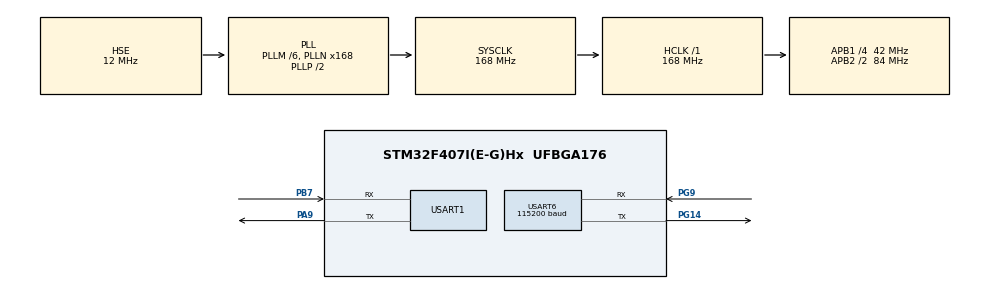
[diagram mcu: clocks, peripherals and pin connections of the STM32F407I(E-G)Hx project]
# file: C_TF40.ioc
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Dma.Request0=USART6_RX
Dma.Request1=USART6_TX
Dma.USART6_RX.0.Direction=DMA_PERIPH_TO_MEMORY
Dma.USART6_RX.0.FIFOMode=DMA_FIFOMODE_DISABLE
Dma.USART6_RX.0.Instance=DMA2_Stream1
Dma.USART6_RX.0.MemDataAlignment=DMA_MDATAALIGN_BYTE
Dma.USART6_RX.0.MemInc=DMA_MINC_ENABLE
Dma.USART6_RX.0.Mode=DMA_NORMAL
Dma.USART6_RX.0.PeriphDataAlignment=DMA_PDATAALIGN_BYTE
Dma.USART6_RX.0.PeriphInc=DMA_PINC_DISABLE
Dma.USART6_RX.0.Priority=DMA_PRIORITY_LOW
Dma.USART6_TX.1.Direction=DMA_MEMORY_TO_PERIPH
Dma.USART6_TX.1.FIFOMode=DMA_FIFOMODE_DISABLE
Dma.USART6_TX.1.Instance=DMA2_Stream6
Dma.USART6_TX.1.MemDataAlignment=DMA_MDATAALIGN_BYTE
Dma.USART6_TX.1.MemInc=DMA_MINC_ENABLE
Dma.USART6_TX.1.Mode=DMA_NORMAL
Dma.USART6_TX.1.PeriphDataAlignment=DMA_PDATAALIGN_BYTE
Dma.USART6_TX.1.PeriphInc=DMA_PINC_DISABLE
Dma.USART6_TX.1.Priority=DMA_PRIORITY_LOW
Mcu.Family=STM32F4
Mcu.Name=STM32F407I(E-G)Hx
Mcu.Package=UFBGA176
NVIC.DMA2_Stream1_IRQn=true\:0\:0\:false\:false\:true\:false\:true
NVIC.DMA2_Stream6_IRQn=true\:0\:0\:false\:false\:true\:false\:true
NVIC.PriorityGroup=NVIC_PRIORITYGROUP_4
NVIC.USART6_IRQn=true\:0\:0\:false\:false\:true\:true\:true
PA13.Mode=Serial_Wire
PA13.Signal=SYS_JTMS-SWDIO
PA14.Mode=Serial_Wire
PA14.Signal=SYS_JTCK-SWCLK
PA9.Mode=Asynchronous
PA9.Signal=USART1_TX
PB7.Mode=Asynchronous
PB7.Signal=USART1_RX
PG14.Mode=Asynchronous
PG14.Signal=USART6_TX
PG9.Mode=Asynchronous
PG9.Signal=USART6_RX
PH0-OSC_IN.Mode=HSE-External-Oscillator
PH0-OSC_IN.Signal=RCC_OSC_IN
PH1-OSC_OUT.Mode=HSE-External-Oscillator
PH1-OSC_OUT.Signal=RCC_OSC_OUT
ProjectManager.HeapSize=0x200
ProjectManager.StackSize=0x400
ProjectManager.TargetToolchain=MDK-ARM V5.32
RCC.48MHZClocksFreq_Value=84000000
RCC.AHBFreq_Value=168000000
RCC.APB1CLKDivider=RCC_HCLK_DIV4
RCC.APB1Freq_Value=42000000
RCC.APB1TimFreq_Value=84000000
RCC.APB2CLKDivider=RCC_HCLK_DIV2
RCC.APB2Freq_Value=84000000
RCC.APB2TimFreq_Value=168000000
RCC.CortexFreq_Value=168000000
RCC.HCLKFreq_Value=168000000
RCC.HSE_VALUE=12000000
RCC.HSI_VALUE=16000000
RCC.LSE_VALUE=32768
RCC.PLLM=6
RCC.PLLN=168
RCC.PLLSourceVirtual=RCC_PLLSOURCE_HSE
RCC.SYSCLKFreq_VALUE=168000000
RCC.SYSCLKSource=RCC_SYSCLKSOURCE_PLLCLK
RCC.VCOOutputFreq_Value=336000000
USART1.VirtualMode=VM_ASYNC
USART6.BaudRate=115200
USART6.VirtualMode=VM_ASYNC
board=custom

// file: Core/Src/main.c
/* USER CODE BEGIN Header */
/**
  ******************************************************************************
  * @file           : main.c
  * @brief          : Main program body
  ******************************************************************************
  * @attention
  *
  * <h2><center>&copy; Copyright (c) 2022 STMicroelectronics.
  * All rights reserved.</center></h2>
  *
  * This software component is licensed by ST under BSD 3-Clause license,
  * the "License"; You may not use this file except in compliance with the
  * License. You may obtain a copy of the License at:
  *                        opensource.org/licenses/BSD-3-Clause
  *
  ******************************************************************************
  */
/* USER CODE END Header */
#include "main.h"
#include "dma.h"
#include "usart.h"
#include "gpio.h"

/* USER CODE BEGIN Includes */
#include "stdio.h"
#include "crc.h"
/* USER CODE END Includes */

/* USER CODE BEGIN PTD */
#define LENGTH 100
#define BW_TFLidar_DATA_Len             9
#define BW_TFLidar_DATA_ADDRESS            0x01
#define BW_TFLidar_DATA_FUNCTION           0x03
#define BW_TFLidar_DATA_BUTES           0x04
/* USER CODE END PTD */

/* USER CODE BEGIN PV */
uint8_t RxBuffer[LENGTH];
uint8_t RecCount = 0;
uint8_t RxFlag = 0;
uint8_t start_read_distance[] = {
    0x01, 0x03, 0x00, 0x0F, 0x00, 0x02, 0xF4, 0x08};
uint8_t turn_on_laser[] = {
    0x01, 0x10, 0x00, 0x03, 0x00, 0x01, 0x02, 0x00, 0x01, 0x67, 0xA3};
uint8_t close_off_laser[] = {
    0x01, 0x10, 0x00, 0x03, 0x00, 0x01, 0x02, 0x00, 0x00, 0xA6, 0x63};
uint8_t serial_port[] = {
    0x01, 0x10, 0x00, 0x00, 0x00, 0x02, 0x04, 0x00, 0x01, 0xC2, 0x00, 0xF3, 0x0F};
uint8_t continue_meature_mode[] = {
    0x01, 0x03, 0x00, 0x01, 0x00, 0x02, 0x95, 0xCB};
/* USER CODE END PV */

void SystemClock_Config(void);

int main(void)
{

  /* MCU Configuration--------------------------------------------------------*/

  /* Reset of all peripherals, Initializes the Flash interface and the Systick. */
  HAL_Init();

  /* Configure the system clock */
  SystemClock_Config();

  /* Initialize all configured peripherals */
  MX_GPIO_Init();
  MX_DMA_Init();
  MX_USART1_UART_Init();
  MX_USART6_UART_Init();
  /* USER CODE BEGIN 2 */
	HAL_UART_Transmit_DMA(&huart6,(uint8_t*)continue_meature_mode,sizeof(continue_meature_mode));
	HAL_UART_Transmit_DMA(&huart6,(uint8_t*)start_read_distance,sizeof(start_read_distance));
	//HAL_UART_Transmit_DMA(&huart1,(uint8_t*)start_read_distance,sizeof(start_read_distance));
	HAL_UART_Receive_DMA(&huart6,(uint8_t*)RxBuffer,9);
  /* USER CODE END 2 */

  /* Infinite loop */
  while (1)
  {

    /* USER CODE BEGIN 3 */
		HAL_Delay(200);
  }
  /* USER CODE END 3 */
}

void SystemClock_Config(void)
{
  RCC_OscInitTypeDef RCC_OscInitStruct = {0};
  RCC_ClkInitTypeDef RCC_ClkInitStruct = {0};

  /** Configure the main internal regulator output voltage
  */
  __HAL_RCC_PWR_CLK_ENABLE();
  __HAL_PWR_VOLTAGESCALING_CONFIG(PWR_REGULATOR_VOLTAGE_SCALE1);
  /** Initializes the RCC Oscillators according to the specified parameters
  * in the RCC_OscInitTypeDef structure.
  */
  RCC_OscInitStruct.OscillatorType = RCC_OSCILLATORTYPE_HSE;
  RCC_OscInitStruct.HSEState = RCC_HSE_ON;
  RCC_OscInitStruct.PLL.PLLState = RCC_PLL_ON;
  RCC_OscInitStruct.PLL.PLLSource = RCC_PLLSOURCE_HSE;
  RCC_OscInitStruct.PLL.PLLM = 6;
  RCC_OscInitStruct.PLL.PLLN = 168;
  RCC_OscInitStruct.PLL.PLLP = RCC_PLLP_DIV2;
  RCC_OscInitStruct.PLL.PLLQ = 4;
  if (HAL_RCC_OscConfig(&RCC_OscInitStruct) != HAL_OK)
  {
    Error_Handler();
  }
  /** Initializes the CPU, AHB and APB buses clocks
  */
  RCC_ClkInitStruct.ClockType = RCC_CLOCKTYPE_HCLK|RCC_CLOCKTYPE_SYSCLK
                              |RCC_CLOCKTYPE_PCLK1|RCC_CLOCKTYPE_PCLK2;
  RCC_ClkInitStruct.SYSCLKSource = RCC_SYSCLKSOURCE_PLLCLK;
  RCC_ClkInitStruct.AHBCLKDivider = RCC_SYSCLK_DIV1;
  RCC_ClkInitStruct.APB1CLKDivider = RCC_HCLK_DIV4;
  RCC_ClkInitStruct.APB2CLKDivider = RCC_HCLK_DIV2;

  if (HAL_RCC_ClockConfig(&RCC_ClkInitStruct, FLASH_LATENCY_5) != HAL_OK)
  {
    Error_Handler();
  }
}

/* USER CODE BEGIN 4 */
void HAL_UART_RxCpltCallback(UART_HandleTypeDef *huart)
{
	if(huart ->Instance == USART6)
	{
		HAL_UART_DMAStop(&huart6);
		Proc((uint8_t*)RxBuffer);
		HAL_UART_Receive_DMA(&huart6,(uint8_t*)RxBuffer,LENGTH);
	}
}
int fputc(int ch, FILE *f) {
	HAL_UART_Transmit(&huart1, (uint8_t *)&ch, 1, 0xFFFF);
	return ch;
}

void Proc(uint8_t *buf)
{
    uint32_t dist = 0;
  	uint16_t crc = 0;
    uint16_t crc16 = 0;
    if((BW_TFLidar_DATA_ADDRESS == buf[0])&&(BW_TFLidar_DATA_FUNCTION == buf[1])
    &&(BW_TFLidar_DATA_BUTES == buf[2]))
    {
        crc = (buf[7]<<8)|buf[8];
        crc16 =  CRC16((uint8_t *)buf, 7);
        if (crc == crc16)
        {
					dist = ((uint32_t)buf[3]<<24) |((uint32_t)buf[4]<<16) |((uint32_t)buf[5]<<8) |((uint32_t)buf[6]);
					printf("dist = %d\r\n",dist);
				}
    }

}
/* USER CODE END 4 */

void Error_Handler(void)
{
  __disable_irq();
  while (1)
  {
  }
}

/************************ (C) COPYRIGHT STMicroelectronics *****END OF FILE****/
